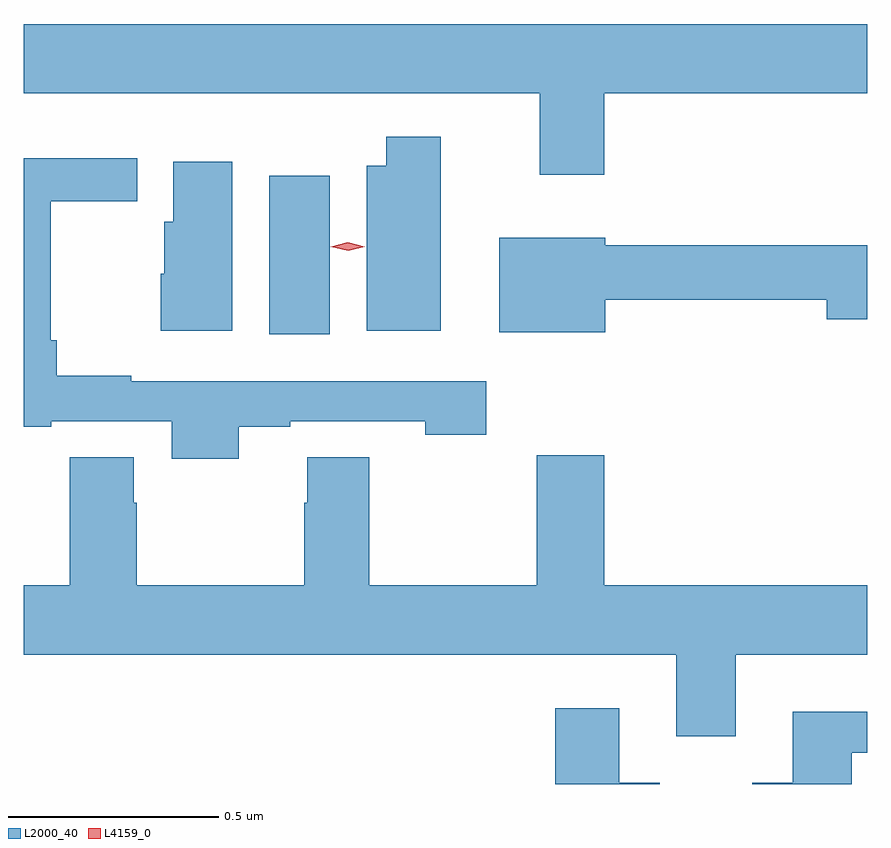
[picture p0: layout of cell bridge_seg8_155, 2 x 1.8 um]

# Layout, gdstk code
import gdstk
lib = gdstk.Library(unit=1e-6, precision=1e-09)
def R(c, l, rs):  # rectangles x0, y0, x1, y1
    for r in rs: c.add(gdstk.rectangle(r[:2], r[2:], *l))
def P(c, l, *ps):  # polygons
    for p in ps: c.add(gdstk.Polygon(p, *l))
L2000_40 = (2000, 40)
L4159_0 = (4159, 0)

bridge_seg8_155 = lib.new_cell('bridge_seg8_155')
R(bridge_seg8_155, L2000_40, [(578.273,1154.556,578.416,1154.932)])
P(bridge_seg8_155, L2000_40, [(579.068,1155.128),(579.691,1155.128),(579.691,1155.292),(577.691,1155.292),(577.691,1155.128),(578.915,1155.128),(578.915,1154.934),(579.068,1154.934)],
  [(578.68,1155.025),(578.551,1155.025),(578.551,1154.956),(578.504,1154.956),(578.504,1154.564),(578.68,1154.564)],
  [(578.2,1154.337),(578.323,1154.337),(578.323,1154.349),(578.643,1154.349),(578.643,1154.317),(578.788,1154.317),(578.788,1154.445),(577.946,1154.445),(577.946,1154.458),(577.769,1154.458),(577.769,1154.542),(577.754,1154.542),(577.754,1154.872),(577.96,1154.872),(577.96,1154.974),(577.691,1154.974),(577.691,1154.337),(577.756,1154.337),(577.756,1154.349),(578.042,1154.349),(578.042,1154.261),(578.2,1154.261)],
  [(578.185,1154.965),(578.045,1154.965),(578.045,1154.823),(578.024,1154.823),(578.024,1154.7),(578.015,1154.7),(578.015,1154.564),(578.185,1154.564)],
  [(579.07,1154.638),(579.596,1154.638),(579.596,1154.591),(579.691,1154.591),(579.691,1154.767),(579.07,1154.767),(579.07,1154.785),(578.819,1154.785),(578.819,1154.561),(579.07,1154.561)],
  [(579.379,1153.796),(579.691,1153.796),(579.691,1153.96),(579.068,1153.96),(579.068,1154.269),(578.908,1154.269),(578.908,1153.96),(578.51,1153.96),(578.51,1154.264),(578.363,1154.264),(578.363,1154.156),(578.356,1154.156),(578.356,1153.96),(577.959,1153.96),(577.959,1154.156),(577.951,1154.156),(577.951,1154.264),(577.799,1154.264),(577.799,1153.96),(577.691,1153.96),(577.691,1153.796),(579.239,1153.796),(579.239,1153.602),(579.379,1153.602)],
  [(579.199,1153.492),(579.103,1153.492),(579.103,1153.669),(578.951,1153.669),(578.951,1153.489),(579.199,1153.489)],
  [(579.655,1153.563),(579.691,1153.563),(579.691,1153.66),(579.515,1153.66),(579.515,1153.492),(579.419,1153.492),(579.419,1153.489),(579.655,1153.489)])
P(bridge_seg8_155, L4159_0, [(578.46,1154.754),(578.419,1154.764),(578.419,1154.764),(578.419,1154.764),(578.459,1154.774),(578.5,1154.764),(578.5,1154.764),(578.5,1154.764)])

lib.write_gds('bridge_seg8_155.gds')
